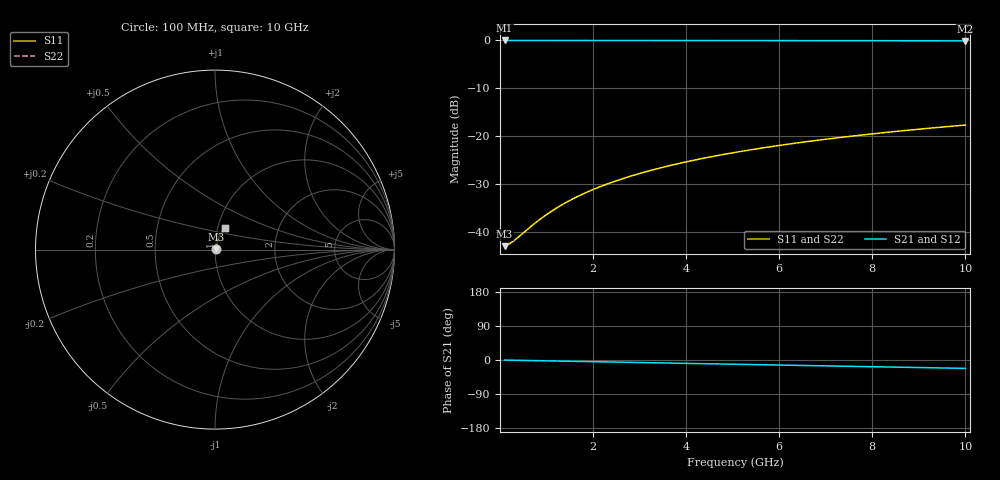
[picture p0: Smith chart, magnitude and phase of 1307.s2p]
# Hz S RI R 50.00
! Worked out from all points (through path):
!   100 points, 100 MHz to 10 GHz, reference 50 ohm
!   highest |S21| = -0.06 dB at 100 MHz (marker M1); lowest = -0.1 dB at 10 GHz (marker M2)
!   group delay of S21, straight-line fit = 6.14 ps
!   lowest |S11| = -42.9 dB at 100 MHz (marker M3), VSWR 1.01, Z = 50.7 + j0.134 ohm
!   |S11| at or under -10 dB: start of sweep to end of sweep
!   |S22| runs from -42.9 to -17.7 dB; largest |S21 - S12| = 0
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1e8  0.00705 0.00132  0.9929 -0.00385  0.9929 -0.00385  0.00705 0.00132
2e8  0.00712 0.00264  0.9929 -0.0077  0.9929 -0.0077  0.00712 0.00264
3e8  0.00717 0.00396  0.9928 -0.0115  0.9928 -0.0115  0.00717 0.00396
8e8  0.00756 0.0105  0.9922 -0.0308  0.9922 -0.0308  0.00756 0.0105
9e8  0.00766 0.0119  0.9921 -0.0346  0.9921 -0.0346  0.00766 0.0119
1.1e9  0.00789 0.0145  0.9917 -0.0423  0.9917 -0.0423  0.00789 0.0145
1.4e9  0.00831 0.0184  0.991 -0.0538  0.991 -0.0538  0.00831 0.0184
1.6e9  0.00864 0.021  0.9905 -0.0615  0.9905 -0.0615  0.00864 0.021
1.8e9  0.00901 0.0236  0.9899 -0.0692  0.9899 -0.0692  0.00901 0.0236
2.1e9  0.00963 0.0275  0.9889 -0.0806  0.9889 -0.0806  0.00963 0.0275
2.5e9  0.0106 0.0327  0.9873 -0.0959  0.9873 -0.0959  0.0106 0.0327
2.9e9  0.0117 0.0379  0.9855 -0.1112  0.9855 -0.1112  0.0117 0.0379
3.4e9  0.0134 0.0442  0.9829 -0.1302  0.9829 -0.1302  0.0134 0.0442
3.8e9  0.0148 0.0493  0.9804 -0.1453  0.9804 -0.1453  0.0148 0.0493
4.2e9  0.0165 0.0543  0.9778 -0.1604  0.9778 -0.1604  0.0165 0.0543
4.6e9  0.0183 0.0592  0.9748 -0.1755  0.9748 -0.1755  0.0183 0.0592
5.1e9  0.0207 0.0653  0.9708 -0.1942  0.9708 -0.1942  0.0207 0.0653
5.9e9  0.0251 0.0748  0.9636 -0.2239  0.9636 -0.2239  0.0251 0.0748
6.7e9  0.0301 0.084  0.9553 -0.2533  0.9553 -0.2533  0.0301 0.084
7.5e9  0.0356 0.0929  0.9461 -0.2823  0.9461 -0.2823  0.0356 0.0929
8.4e9  0.0424 0.1024  0.9346 -0.3144  0.9346 -0.3144  0.0424 0.1024
1e10  0.0561 0.1181  0.9113 -0.3702  0.9113 -0.3702  0.0561 0.1181
